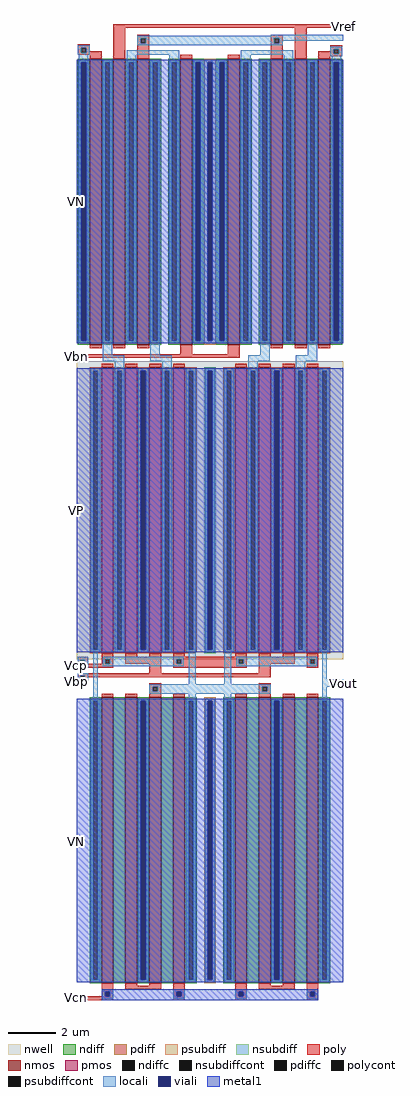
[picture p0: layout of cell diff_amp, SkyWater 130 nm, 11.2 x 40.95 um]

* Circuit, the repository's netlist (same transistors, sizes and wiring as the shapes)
* NGSPICE file created from diff_amp.ext - technology: sky130A

.subckt diff_amp Vbn Vin Vref Vbp Vcp Vcn Vout VP VN
X0 a_n850_5390# Vin a_n1050_5390# VN sky130_fd_pr__nfet_01v8 ad=6 pd=25 as=3 ps=12.5 w=12 l=0.5
X1 a_n30_30# Vcn a_n1050_n20# VN sky130_fd_pr__nfet_01v8 ad=3 pd=12.5 as=6 ps=25 w=12 l=0.5
X2 a_n1250_5390# VN VN VN sky130_fd_pr__nfet_01v8 ad=3 pd=12.5 as=6 ps=25 w=12 l=0.5
X3 a_n1050_n20# Vcn a_n750_30# VN sky130_fd_pr__nfet_01v8 ad=6 pd=25 as=3 ps=12.5 w=12 l=0.5
X4 VN a_n1050_n20# a_n30_30# VN sky130_fd_pr__nfet_01v8 ad=3 pd=12.5 as=3 ps=12.5 w=12 l=0.5
X5 a_370_2800# Vbp VP VP sky130_fd_pr__pfet_01v8 ad=3 pd=12.5 as=3 ps=12.5 w=12 l=0.5
X6 a_n850_5390# Vbp VP VP sky130_fd_pr__pfet_01v8 ad=3 pd=12.5 as=3 ps=12.5 w=12 l=0.5
X7 a_370_30# a_n1050_n20# VN VN sky130_fd_pr__nfet_01v8 ad=3 pd=12.5 as=3 ps=12.5 w=12 l=0.5
X8 a_n90_5390# Vin a_n30_2800# VN sky130_fd_pr__nfet_01v8 ad=3 pd=12.5 as=6 ps=25 w=12 l=0.5
X9 a_n1250_5390# Vcp a_n1350_30# VP sky130_fd_pr__pfet_01v8 ad=3 pd=12.5 as=6 ps=25 w=12 l=0.5
X10 VN VN a_370_2800# VN sky130_fd_pr__nfet_01v8 ad=6 pd=25 as=3 ps=12.5 w=12 l=0.5
X11 VP Vbp a_n30_2800# VP sky130_fd_pr__pfet_01v8 ad=3 pd=12.5 as=3 ps=12.5 w=12 l=0.5
X12 VN a_n1050_n20# a_n1150_30# VN sky130_fd_pr__nfet_01v8 ad=3 pd=12.5 as=3 ps=12.5 w=12 l=0.5
X13 a_n1050_5390# Vref a_n1250_5390# VN sky130_fd_pr__nfet_01v8 ad=3 pd=12.5 as=3 ps=12.5 w=12 l=0.5
X14 a_n750_30# a_n1050_n20# VN VN sky130_fd_pr__nfet_01v8 ad=3 pd=12.5 as=3 ps=12.5 w=12 l=0.5
X15 a_n30_2800# Vcp a_n1050_n20# VP sky130_fd_pr__pfet_01v8 ad=3 pd=12.5 as=6 ps=25 w=12 l=0.5
X16 VN Vbn a_n1050_5390# VN sky130_fd_pr__nfet_01v8 ad=6 pd=25 as=6 ps=25 w=12 l=0.5
X17 a_n90_5390# Vbn VN VN sky130_fd_pr__nfet_01v8 ad=6 pd=25 as=6 ps=25 w=12 l=0.5
X18 a_n1050_n20# Vcp a_n850_5390# VP sky130_fd_pr__pfet_01v8 ad=6 pd=25 as=3 ps=12.5 w=12 l=0.5
X19 Vout Vcp a_370_2800# VP sky130_fd_pr__pfet_01v8 ad=6 pd=25 as=3 ps=12.5 w=12 l=0.5
X20 Vout Vcn a_370_30# VN sky130_fd_pr__nfet_01v8 ad=6 pd=25 as=3 ps=12.5 w=12 l=0.5
X21 a_370_2800# Vref a_n90_5390# VN sky130_fd_pr__nfet_01v8 ad=3 pd=12.5 as=3 ps=12.5 w=12 l=0.5
X22 VP Vbp a_n1250_5390# VP sky130_fd_pr__pfet_01v8 ad=3 pd=12.5 as=3 ps=12.5 w=12 l=0.5
X23 a_n1150_30# Vcn a_n1350_30# VN sky130_fd_pr__nfet_01v8 ad=3 pd=12.5 as=6 ps=25 w=12 l=0.5
.ends

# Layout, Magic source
magic
tech sky130A
<< nwell >>
rect -730 1375 390 2625
<< nmos >>
rect -675 2695 -625 3895
rect -575 2695 -525 3895
rect -475 2695 -425 3895
rect -295 2695 -245 3895
rect -95 2695 -45 3895
rect 85 2695 135 3895
rect 185 2695 235 3895
rect 285 2695 335 3895
rect -625 15 -575 1215
rect -525 15 -475 1215
rect -425 15 -375 1215
rect -325 15 -275 1215
rect -65 15 -15 1215
rect 35 15 85 1215
rect 135 15 185 1215
rect 235 15 285 1215
<< pmos >>
rect -625 1400 -575 2600
rect -525 1400 -475 2600
rect -425 1400 -375 2600
rect -325 1400 -275 2600
rect -65 1400 -15 2600
rect 35 1400 85 2600
rect 135 1400 185 2600
rect 235 1400 285 2600
<< ndiff >>
rect -725 3880 -675 3895
rect -725 2710 -710 3880
rect -690 2710 -675 3880
rect -725 2695 -675 2710
rect -625 3880 -575 3895
rect -625 2710 -610 3880
rect -590 2710 -575 3880
rect -625 2695 -575 2710
rect -525 3880 -475 3895
rect -525 2710 -510 3880
rect -490 2710 -475 3880
rect -525 2695 -475 2710
rect -425 3880 -375 3895
rect -425 2710 -410 3880
rect -390 2710 -375 3880
rect -425 2695 -375 2710
rect -345 3880 -295 3895
rect -345 2710 -330 3880
rect -310 2710 -295 3880
rect -345 2695 -295 2710
rect -245 3880 -195 3895
rect -145 3880 -95 3895
rect -245 2710 -230 3880
rect -210 2710 -195 3880
rect -145 2710 -130 3880
rect -110 2710 -95 3880
rect -245 2695 -195 2710
rect -145 2695 -95 2710
rect -45 3880 5 3895
rect -45 2710 -30 3880
rect -10 2710 5 3880
rect -45 2695 5 2710
rect 35 3880 85 3895
rect 35 2710 50 3880
rect 70 2710 85 3880
rect 35 2695 85 2710
rect 135 3880 185 3895
rect 135 2710 150 3880
rect 170 2710 185 3880
rect 135 2695 185 2710
rect 235 3880 285 3895
rect 235 2710 250 3880
rect 270 2710 285 3880
rect 235 2695 285 2710
rect 335 3880 385 3895
rect 335 2710 350 3880
rect 370 2710 385 3880
rect 335 2695 385 2710
rect -675 1200 -625 1215
rect -675 30 -660 1200
rect -640 30 -625 1200
rect -675 15 -625 30
rect -575 15 -525 1215
rect -475 1200 -425 1215
rect -475 30 -460 1200
rect -440 30 -425 1200
rect -475 15 -425 30
rect -375 15 -325 1215
rect -275 1200 -225 1215
rect -275 30 -260 1200
rect -240 30 -225 1200
rect -275 15 -225 30
rect -115 1200 -65 1215
rect -115 30 -100 1200
rect -80 30 -65 1200
rect -115 15 -65 30
rect -15 15 35 1215
rect 85 1200 135 1215
rect 85 30 100 1200
rect 120 30 135 1200
rect 85 15 135 30
rect 185 15 235 1215
rect 285 1200 335 1215
rect 285 30 300 1200
rect 320 30 335 1200
rect 285 15 335 30
<< pdiff >>
rect -675 2585 -625 2600
rect -675 1415 -660 2585
rect -640 1415 -625 2585
rect -675 1400 -625 1415
rect -575 2585 -525 2600
rect -575 1415 -560 2585
rect -540 1415 -525 2585
rect -575 1400 -525 1415
rect -475 2585 -425 2600
rect -475 1415 -460 2585
rect -440 1415 -425 2585
rect -475 1400 -425 1415
rect -375 2585 -325 2600
rect -375 1415 -360 2585
rect -340 1415 -325 2585
rect -375 1400 -325 1415
rect -275 2585 -225 2600
rect -275 1415 -260 2585
rect -240 1415 -225 2585
rect -275 1405 -225 1415
rect -275 1400 -230 1405
rect -115 2585 -65 2600
rect -115 1415 -100 2585
rect -80 1415 -65 2585
rect -115 1400 -65 1415
rect -15 2585 35 2600
rect -15 1415 0 2585
rect 20 1415 35 2585
rect -15 1400 35 1415
rect 85 2585 135 2600
rect 85 1415 100 2585
rect 120 1415 135 2585
rect 85 1400 135 1415
rect 185 2585 235 2600
rect 185 1415 200 2585
rect 220 1415 235 2585
rect 185 1400 235 1415
rect 285 2585 335 2600
rect 285 1415 300 2585
rect 320 1415 335 2585
rect 285 1400 335 1415
<< ndiffc >>
rect -710 2710 -690 3880
rect -610 2710 -590 3880
rect -510 2710 -490 3880
rect -410 2710 -390 3880
rect -330 2710 -310 3880
rect -230 2710 -210 3880
rect -130 2710 -110 3880
rect -30 2710 -10 3880
rect 50 2710 70 3880
rect 150 2710 170 3880
rect 250 2710 270 3880
rect 350 2710 370 3880
rect -660 30 -640 1200
rect -460 30 -440 1200
rect -260 30 -240 1200
rect -100 30 -80 1200
rect 100 30 120 1200
rect 300 30 320 1200
<< pdiffc >>
rect -660 1415 -640 2585
rect -560 1415 -540 2585
rect -460 1415 -440 2585
rect -360 1415 -340 2585
rect -260 1415 -240 2585
rect -100 1415 -80 2585
rect 0 1415 20 2585
rect 100 1415 120 2585
rect 200 1415 220 2585
rect 300 1415 320 2585
<< psubdiff >>
rect -195 3880 -145 3895
rect -195 2710 -180 3880
rect -160 2710 -145 3880
rect -195 2695 -145 2710
rect -195 1200 -145 1215
rect -195 30 -180 1200
rect -160 30 -145 1200
rect -195 15 -145 30
<< nsubdiff >>
rect -195 2585 -145 2600
rect -195 1415 -180 2585
rect -160 1415 -145 2585
rect -195 1400 -145 1415
<< psubdiffcont >>
rect -180 2710 -160 3880
rect -180 30 -160 1200
<< nsubdiffcont >>
rect -180 1415 -160 2585
<< poly >>
rect -575 4025 390 4040
rect -725 3940 -675 3955
rect -725 3920 -710 3940
rect -690 3925 -675 3940
rect -690 3920 -625 3925
rect -725 3910 -625 3920
rect -675 3895 -625 3910
rect -575 3895 -525 4025
rect -475 3980 -425 3995
rect -475 3960 -460 3980
rect -440 3960 -425 3980
rect -475 3895 -425 3960
rect 85 3980 135 3995
rect 85 3960 100 3980
rect 120 3960 135 3980
rect -295 3895 -245 3910
rect -95 3895 -45 3910
rect 85 3895 135 3960
rect 185 3895 235 4025
rect 335 3935 385 3950
rect 335 3925 350 3935
rect 285 3915 350 3925
rect 370 3915 385 3935
rect 285 3905 385 3915
rect 285 3895 335 3905
rect -675 2680 -625 2695
rect -575 2680 -525 2695
rect -475 2680 -425 2695
rect -295 2655 -245 2695
rect -95 2655 -45 2695
rect 85 2680 135 2695
rect 185 2680 235 2695
rect 285 2680 335 2695
rect -730 2640 -45 2655
rect -625 2600 -575 2615
rect -525 2600 -475 2615
rect -425 2600 -375 2615
rect -325 2600 -275 2615
rect -65 2600 -15 2615
rect 35 2600 85 2615
rect 135 2600 185 2615
rect 235 2600 285 2615
rect -725 1370 -680 1385
rect -725 1350 -715 1370
rect -695 1355 -680 1370
rect -625 1375 -575 1400
rect -625 1355 -610 1375
rect -590 1355 -575 1375
rect -525 1385 -475 1400
rect -425 1385 -375 1400
rect -525 1355 -375 1385
rect -695 1350 -575 1355
rect -725 1340 -575 1350
rect -425 1315 -375 1355
rect -325 1385 -275 1400
rect -65 1385 -15 1400
rect -325 1375 -15 1385
rect -325 1355 -310 1375
rect -290 1355 -50 1375
rect -30 1355 -15 1375
rect -325 1340 -15 1355
rect 35 1385 85 1400
rect 135 1385 185 1400
rect 35 1355 185 1385
rect 235 1375 285 1400
rect 235 1355 250 1375
rect 270 1355 285 1375
rect 35 1315 85 1355
rect 235 1340 285 1355
rect -725 1305 85 1315
rect -725 1285 -715 1305
rect -695 1300 85 1305
rect -695 1285 -680 1300
rect -725 1270 -680 1285
rect -425 1260 -375 1275
rect -425 1240 -410 1260
rect -390 1240 -375 1260
rect -625 1215 -575 1230
rect -525 1215 -475 1230
rect -425 1215 -375 1240
rect 35 1260 85 1275
rect 35 1240 50 1260
rect 70 1240 85 1260
rect -325 1215 -275 1230
rect -65 1215 -15 1230
rect 35 1215 85 1240
rect 135 1215 185 1230
rect 235 1215 285 1230
rect -625 -20 -575 15
rect -525 5 -475 15
rect -425 5 -375 15
rect -525 -10 -375 5
rect -625 -40 -610 -20
rect -590 -40 -575 -20
rect -730 -55 -575 -40
rect -325 -20 -275 15
rect -325 -40 -310 -20
rect -290 -40 -275 -20
rect -325 -55 -275 -40
rect -65 -20 -15 15
rect 35 5 85 15
rect 135 5 185 15
rect 35 -10 185 5
rect -65 -40 -50 -20
rect -30 -40 -15 -20
rect -65 -55 -15 -40
rect 235 -20 285 15
rect 235 -40 250 -20
rect 270 -40 285 -20
rect 235 -55 285 -40
<< polycont >>
rect -710 3920 -690 3940
rect -460 3960 -440 3980
rect 100 3960 120 3980
rect 350 3915 370 3935
rect -715 1350 -695 1370
rect -610 1355 -590 1375
rect -310 1355 -290 1375
rect -50 1355 -30 1375
rect 250 1355 270 1375
rect -715 1285 -695 1305
rect -410 1240 -390 1260
rect 50 1240 70 1260
rect -610 -40 -590 -20
rect -310 -40 -290 -20
rect -50 -40 -30 -20
rect 250 -40 270 -20
<< locali >>
rect 85 3990 390 3995
rect -475 3980 390 3990
rect -475 3960 -460 3980
rect -440 3960 100 3980
rect 120 3970 390 3980
rect 120 3960 135 3970
rect -475 3950 135 3960
rect -725 3940 -675 3950
rect -725 3920 -710 3940
rect -690 3920 -675 3940
rect 335 3935 385 3945
rect -725 3910 -675 3920
rect -520 3910 -300 3930
rect -720 3880 -680 3910
rect -720 2710 -710 3880
rect -690 2710 -680 3880
rect -720 2700 -680 2710
rect -620 3880 -580 3890
rect -620 2710 -610 3880
rect -590 2710 -580 3880
rect -620 2650 -580 2710
rect -520 3880 -480 3910
rect -520 2710 -510 3880
rect -490 2710 -480 3880
rect -520 2700 -480 2710
rect -420 3880 -380 3890
rect -420 2710 -410 3880
rect -390 2710 -380 3880
rect -420 2650 -380 2710
rect -340 3880 -300 3910
rect -40 3910 180 3930
rect -340 2710 -330 3880
rect -310 2710 -300 3880
rect -340 2700 -300 2710
rect -240 3880 -100 3890
rect -240 2710 -230 3880
rect -210 2710 -180 3880
rect -160 2710 -130 3880
rect -110 2710 -100 3880
rect -240 2700 -100 2710
rect -40 3880 0 3910
rect -40 2710 -30 3880
rect -10 2710 0 3880
rect -40 2700 0 2710
rect 40 3880 80 3890
rect 40 2710 50 3880
rect 70 2710 80 3880
rect 40 2650 80 2710
rect 140 3880 180 3910
rect 335 3915 350 3935
rect 370 3915 385 3935
rect 335 3905 385 3915
rect 140 2710 150 3880
rect 170 2710 180 3880
rect 140 2700 180 2710
rect 240 3880 280 3890
rect 240 2710 250 3880
rect 270 2710 280 3880
rect 240 2650 280 2710
rect 340 3880 380 3905
rect 340 2710 350 3880
rect 370 2710 380 3880
rect 340 2700 380 2710
rect -620 2625 -530 2650
rect -420 2625 -330 2650
rect -670 2585 -630 2595
rect -670 1415 -660 2585
rect -640 1415 -630 2585
rect -670 1405 -630 1415
rect -570 2585 -530 2625
rect -570 1415 -560 2585
rect -540 1415 -530 2585
rect -570 1405 -530 1415
rect -470 2585 -430 2595
rect -470 1415 -460 2585
rect -440 1415 -430 2585
rect -470 1405 -430 1415
rect -370 2585 -330 2625
rect -10 2625 80 2650
rect 190 2625 280 2650
rect -370 1415 -360 2585
rect -340 1415 -330 2585
rect -370 1405 -330 1415
rect -270 2585 -230 2595
rect -270 1415 -260 2585
rect -240 1415 -230 2585
rect -270 1405 -230 1415
rect -190 2585 -150 2595
rect -190 1415 -180 2585
rect -160 1415 -150 2585
rect -190 1405 -150 1415
rect -110 2585 -70 2595
rect -110 1415 -100 2585
rect -80 1415 -70 2585
rect -110 1405 -70 1415
rect -10 2585 30 2625
rect -10 1415 0 2585
rect 20 1415 30 2585
rect -10 1405 30 1415
rect 90 2585 130 2595
rect 90 1415 100 2585
rect 120 1415 130 2585
rect 90 1405 130 1415
rect 190 2585 230 2625
rect 190 1415 200 2585
rect 220 1415 230 2585
rect 190 1405 230 1415
rect 290 2585 330 2595
rect 290 1415 300 2585
rect 320 1415 330 2585
rect 290 1405 330 1415
rect -725 1370 -680 1385
rect -725 1360 -715 1370
rect -730 1350 -715 1360
rect -695 1350 -680 1370
rect -730 1340 -680 1350
rect -725 1305 -680 1315
rect -725 1290 -715 1305
rect -730 1285 -715 1290
rect -695 1285 -680 1305
rect -730 1270 -680 1285
rect -660 1210 -640 1405
rect -620 1375 -280 1385
rect -620 1355 -610 1375
rect -590 1355 -310 1375
rect -290 1355 -280 1375
rect -620 1345 -280 1355
rect -260 1270 -230 1405
rect -110 1270 -80 1405
rect -60 1375 280 1385
rect -60 1355 -50 1375
rect -30 1355 250 1375
rect 270 1355 280 1375
rect -60 1345 280 1355
rect 300 1290 320 1405
rect -425 1260 85 1270
rect -425 1240 -410 1260
rect -390 1240 50 1260
rect 70 1240 85 1260
rect -425 1230 85 1240
rect 300 1260 390 1290
rect -260 1210 -230 1230
rect -110 1210 -80 1230
rect 300 1210 320 1260
rect -670 1200 -630 1210
rect -670 30 -660 1200
rect -640 30 -630 1200
rect -670 20 -630 30
rect -470 1200 -430 1210
rect -470 30 -460 1200
rect -440 30 -430 1200
rect -470 20 -430 30
rect -270 1200 -230 1210
rect -270 30 -260 1200
rect -240 30 -230 1200
rect -270 20 -230 30
rect -190 1200 -150 1210
rect -190 30 -180 1200
rect -160 30 -150 1200
rect -190 20 -150 30
rect -110 1200 -70 1210
rect -110 30 -100 1200
rect -80 30 -70 1200
rect -110 20 -70 30
rect 90 1200 130 1210
rect 90 30 100 1200
rect 120 30 130 1200
rect 90 20 130 30
rect 290 1200 330 1210
rect 290 30 300 1200
rect 320 30 330 1200
rect 290 20 330 30
rect -625 -20 -575 -10
rect -625 -40 -610 -20
rect -590 -40 -575 -20
rect -625 -50 -575 -40
rect -325 -20 -275 -10
rect -325 -40 -310 -20
rect -290 -40 -275 -20
rect -325 -50 -275 -40
rect -65 -20 -15 -10
rect -65 -40 -50 -20
rect -30 -40 -15 -20
rect -65 -50 -15 -40
rect 235 -20 285 -10
rect 235 -40 250 -20
rect 270 -40 285 -20
rect 235 -50 285 -40
<< viali >>
rect -710 2710 -690 3880
rect -230 2710 -210 3880
rect -180 2710 -160 3880
rect -130 2710 -110 3880
rect 350 2710 370 3880
rect -460 1415 -440 2585
rect -180 1415 -160 2585
rect 100 1415 120 2585
rect -460 30 -440 1200
rect -180 30 -160 1200
rect 100 30 120 1200
rect -610 -40 -590 -20
rect -310 -40 -290 -20
rect -50 -40 -30 -20
rect 250 -40 270 -20
<< metal1 >>
rect -730 3880 390 3890
rect -730 2710 -710 3880
rect -690 2710 -230 3880
rect -210 2710 -180 3880
rect -160 2710 -130 3880
rect -110 2710 350 3880
rect 370 2710 390 3880
rect -730 2700 390 2710
rect -730 2585 390 2595
rect -730 1415 -460 2585
rect -440 1415 -180 2585
rect -160 1415 100 2585
rect 120 1415 390 2585
rect -730 1405 390 1415
rect -730 1200 390 1210
rect -730 30 -460 1200
rect -440 30 -180 1200
rect -160 30 100 1200
rect 120 30 390 1200
rect -730 20 390 30
rect -625 -20 285 -10
rect -625 -40 -610 -20
rect -590 -40 -310 -20
rect -290 -40 -50 -20
rect -30 -40 250 -20
rect 270 -40 285 -20
rect -625 -55 285 -40
<< labels >>
rlabel metal1 -730 2000 -730 2000 7 VP
port 9 w
rlabel poly -730 -45 -730 -45 7 Vcn
port 6 w
rlabel metal1 -730 610 -730 610 7 VN
port 10 w
rlabel poly -730 2645 -730 2645 7 Vbn
port 1 w
rlabel metal1 -730 3295 -730 3295 7 VN
port 8 w
rlabel poly 390 4030 390 4030 3 Vref
port 3 w
rlabel locali -730 1350 -730 1350 7 Vcp
port 5 w
rlabel locali 390 1275 390 1275 3 Vout
port 7 e
rlabel locali 390 3985 390 3985 3 Vin
port 2 e
rlabel locali -730 1280 -730 1280 7 Vbp
port 4 w
<< end >>
